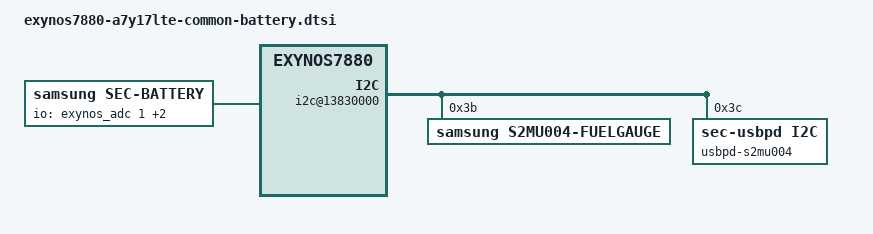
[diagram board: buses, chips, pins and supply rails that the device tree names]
/*
 * SAMSUNG UNIVERSAL7880 board device tree source
 *
 * Copyright (c) 2016 Samsung Electronics Co., Ltd.
 *		http://www.samsung.com
 *
 * This program is free software; you can redistribute it and/or modify
 * it under the terms of the GNU General Public License version 2 as
 * published by the Free Software Foundation.
*/

/ {
	pinctrl@139F0000 {
		fuel_irq: fuel-irq {
			samsung,pins = "gpa0-3";
			samsung,pin-function = <0>;
			samsung,pin-pud = <2>;
			samsung,pin-drv = <0>;
		};

		if_pmic_irq: if-pmic-irq {
			samsung,pins = "gpa2-7";
			samsung,pin-function = <0>;
			samsung,pin-pud = <0>;
			samsung,pin-drv = <0>;
		};

		usbpd_irq: usbpd-irq {
			samsung,pins = "gpa1-3";
			samsung,pin-function = <0xf>;
			samsung,pin-pud = <0>;
			samsung,pin-drv = <0>;
		};
	};

	i2c@13830000 {
		i2c-gpio,delay-us = <5>;
		status = "okay";
		s2mu004-fuelgauge@3B {
			compatible = "samsung,s2mu004-fuelgauge";
			reg = <0x3B>;
			pinctrl-names = "default";
			pinctrl-0 = <&fuel_irq>;
			fuelgauge,fuel_int = <&gpa0 3 0>;
			fuelgauge,fuel_alert_soc = <1>;
			fuelgauge,fuel_alert_vol = <3300>;
			fuelgauge,capacity_max = <1000>;
			fuelgauge,capacity_max_margin = <70>;
			fuelgauge,capacity_min = <0>;
			fuelgauge,capacity_calculation_type = <28>;
			fuelgauge,capacity_full = <3600>;
			fuelgauge,type_str = "SDI";
			fuelgauge,model_type = <1>;
		};
		usbpd-s2mu004@3C {
			compatible = "sec-usbpd,i2c";
			reg = <0x3C>;
			pinctrl-names = "default";
			pinctrl-0     = <&usbpd_irq>;
			usbpd,usbpd_int = <&gpa1 3 0>;
		};
	};

	battery_params {
			battery,battery_table3 = <229 11 83 11 193 10 48 10 182 9
						67 9 215 8 111 8 244 7 174 7
						84 7 244 6 182 6 136 6 100 6
						70 6 34 6 249 5 199 5 145 5
						57 5 175 1 243 8 132 8 21 8
						166 7 55 7 200 6 89 6 235 5
						124 5 13 5 158 4 47 4 192 3
						81 3 227 2 116 2 5 2 150 1
						39 1 184 0 73 0 219 15>;

			battery,battery_table4 = <51 51 51 51 51 51 50 51 50 50
						50 51 51 52 53 53 54 56 58 63
						80 154>;

			battery,batcap = <0x40 0x38 0x10 0x0E>; /* [0x0E] [0x0F] [0x10] [0x11] */
			battery,accum = <0x8 0x00>; /* [0x45] [0x44] */

			battery,soc_arr_val = <11185 10644 10103 9561 9020 8479 7937 7396 6855 6314 5772 5231 4690 4148 3607 3066 2525 1983 1442 901 359 (-182)>;
			battery,ocv_arr_val = <44709 44058 43407 42757 42157 41576 41022 40501 40016 39595 39118 38638 38351 38136 37965 37820 37654 37444 37170 36926 36174 31965>;
	};

	pdic-manager {
		/* sink */
		pdic,max_power = <5000>;
		pdic,op_power = <2500>;
		pdic,max_voltage = <6000>;
		pdic,max_current = <2000>;
		pdic,min_current = <500>;

		pdic,giveback = <0>;
		pdic,usb_com_capable = <1>;
		pdic,no_usb_suspend = <1>;

		/* source */
		source,max_voltage = <5000>;
		source,min_voltage = <4000>;
		source,max_power = <2500>;
	};

	battery {
		status = "okay";
		compatible = "samsung,sec-battery";

		pinctrl-names = "default";

		battery,vendor = "SDI SDI";
		battery,charger_name = "s2mu004-charger";
		battery,fuelgauge_name = "s2mu004-fuelgauge";
		battery,technology = <2>; /* POWER_SUPPLY_TECHNOLOGY_LION */

		battery,chip_vendor = "LSI";
		battery,temp_adc_type = <1>; /* SEC_BATTERY_ADC_TYPE_AP */

		battery,chg_thermal_source = <1>;  /* SEC_CHARGER_THERMAL_SOURCE_ADC */
		battery,chg_temp_check = <1>;
		battery,slave_chg_temp_check = <0>;

		battery,polling_time = <10 30 30 30 3600>;

		battery,temp_table_adc = <311 364 412 489 596 702 779 842 884 939 1038 1098 1130 1204 1277 1307 1390 1497
						1580 1698 1846 1976 2071 2306 2537 2759 2964 3041 3134 3251 3321 3373 3469 3597 3707>;
		battery,temp_table_data = <900 850 800 750 700 650 600 570 550 530 500 480 470 450 430 420 400 370
						350 330 300 270 250 200 150 100 50 30 0 (-30) (-50) (-70) (-100) (-150) (-200)>;

		battery,chg_temp_table_adc = <298 336 396 464 538 662 765 888 943 996 1080 1152 1181 1231 1308 1422 1536
						1617 1708 1833 1957 2048 2270 2490 2690 2881 2957 3042 3138 3210 3262 3339 3455 3555>;
		battery,chg_temp_table_data = <900 850 800 750 700 650 600 570 550 530 500 480 470 450 430 400 370
						350 330 300 270 250 200 150 100 50 30 0 (-30) (-50) (-70) (-100) (-150) (-200)>;

		battery,input_current_limit = <1800 450 450 1800 500 900 1500 450 1000 450 900 900 900 1900 1800 450 450 400 700 1300 300 1000 1500 450 1650 2100 500 1650 80 1800 1650 1400 1000 1000 700 900 900 900 500 1800 1650 3000>;
		battery,fast_charging_current = <2100 450 450 2100 800 1200 1500 450 1200 450 2100 2100 2100 1600 2100 450 450 400 700 1300 300 1000 1500 450 2600 3500 500 2600 80 1800 1000 1400 450 1000 2100 2100 2100 2100 450 2100 2600 3000>;
		battery,full_check_current_1st = <360 0 0 360 360 360 360 360 360 0 360 360 360 360 360 0 0 360 360 360 360 360 360 0 360 360 360 360 0 360 360 360 0 360 360 360 360 360 360 360 360 360>;
		battery,full_check_current_2nd = <120 0 0 120 120 120 120 120 120 0 120 120 120 120 120 0 0 120 120 120 120 120 120 0 120 120 120 120 0 120 120 120 0 120 120 120 120 120 120 120 120 120>;

		battery,wireless_cc_cv = <85>;
		battery,inbat_voltage = <1>;

		battery,inbat_voltage_table_adc = <2823 2803 2775 2748 2719 2695 2668 2638 2609 2582
						2551 2524 2496 2469 2442 2416 2390 2362 2333 2303 2275>;
		battery,inbat_voltage_table_data = <4385 4355 4305 4255 4205 4155 4105 4055 4005 3955
						3905 3855 3805 3755 3705 3655 3605 3555 3505 3455 3405>;

		battery,adc_check_count = <5>;

		battery,cable_check_type = <4>; /* SEC_BATTERY_CABLE_CHECK_PSY */
		battery,cable_source_type = <1>; /* SEC_BATTERY_CABLE_SOURCE_EXTERNAL */
		battery,polling_type = <1>; /* SEC_BATTERY_MONITOR_ALARM */
		battery,monitor_initial_count = <0>;

		battery,pre_afc_input_current = <500>;

		battery,battery_check_type = <0>; /* SEC_BATTERY_CHECK_NONE */
		battery,check_count = <0>;
		battery,check_adc_max = <1440>;
		battery,check_adc_min = <0>;

		battery,ovp_uvlo_check_type = <3>; /* SEC_BATTERY_OVP_UVLO_CHGPOLLING */

		battery,thermal_source = <2>; /* SEC_BATTERY_THERMAL_SOURCE_ADC */

		battery,temp_check_type = <2>; /* SEC_BATTERY_TEMP_CHECK_TEMP */
		battery,temp_check_count = <1>;
		battery,temp_highlimit_threshold_normal = <800>;
		battery,temp_highlimit_recovery_normal = <750>;
		battery,temp_high_threshold_normal = <500>;
		battery,temp_high_recovery_normal = <450>;
		battery,temp_low_threshold_normal = <0>;
		battery,temp_low_recovery_normal = <50>;
		battery,temp_highlimit_threshold_lpm = <800>;
		battery,temp_highlimit_recovery_lpm = <750>;
		battery,temp_high_threshold_lpm = <500>;
		battery,temp_high_recovery_lpm = <450>;
		battery,temp_low_threshold_lpm = <0>;
		battery,temp_low_recovery_lpm = <50>;

		battery,full_check_type = <2>; /* SEC_BATTERY_FULLCHARGED_FG_CURRENT */
		battery,full_check_type_2nd = <2>; /* SEC_BATTERY_FULLCHARGED_FG_CURRENT */
		battery,full_check_count = <1>;
		battery,chg_gpio_full_check = <0>;
		battery,chg_polarity_full_check = <1>;

		battery,chg_heating_prevention_method = <1>; /* SEC_BATTERY_BY_CHANGING_CURRENT */
		battery,chg_12v_high_temp = <615>;
		battery,chg_high_temp = <430>;
		battery,chg_high_temp_recovery = <425>;
		battery,chg_charging_limit_current = <1100>;

		battery,wpc_high_temp = <460 495>;
		battery,wpc_high_temp_recovery = <459 400>;
		battery,wpc_charging_limit_current = <540 400>;
		battery,wpc_heat_temp_recovery = <360>;
		battery,wpc_lcd_on_high_temp = <470>;
		battery,wpc_lcd_on_high_temp_rec = <300>;
		battery,wpc_hv_lcd_on_input_limit_current = <400>;

		battery,sleep_mode_limit_current = <500>;
		battery,wc_full_input_limit_current = <100>;
		battery,wc_heating_input_limit_current = <400>;
		battery,wc_heating_time = <300>; /* 5 min */
		battery,wc_cv_current = <820>;
		battery,wc_cv_pack_current = <630>;

		battery,mix_high_temp = <420>;
		battery,mix_high_chg_temp = <500>;
		battery,mix_high_temp_recovery = <390>;

		/* SEC_BATTERY_FULL_CONDITION_SOC |
		   SEC_BATTERY_FULL_CONDITION_NOTIMEFULL |
		   SEC_BATTERY_FULL_CONDITION_VCELL */
		battery,full_condition_type = <13>;
		battery,full_condition_soc = <93>;
		battery,full_condition_vcell = <4250>;

		battery,recharge_check_count = <1>;
		battery,recharge_condition_type = <4>; /* SEC_BATTERY_RECHARGE_CONDITION_VCELL */
		battery,recharge_condition_soc = <98>;
		battery,recharge_condition_vcell = <4300>;

		battery,charging_total_time = <21600>;
		battery,recharging_total_time = <5400>;
		battery,charging_reset_time = <0>;

		battery,chg_float_voltage = <4350>;

		battery,swelling_high_temp_block = <410>;
		battery,swelling_high_temp_recov = <360>;
		battery,swelling_low_temp_block = <100>;
		battery,swelling_low_temp_recov = <150>;
		battery,swelling_low_temp_additional = <50>;

		battery,swelling_low_temp_current = <1350>;	/* 0.45C */
		battery,swelling_low_temp_additional_current = <550>;	/* 0.18C */
		battery,swelling_low_temp_topoff = <150>;	/* 0.05C */
		battery,swelling_high_temp_current = <1350>;	/* 0.45C */
		battery,swelling_high_temp_topoff = <150>;	/* 0.05C */

		battery,swelling_drop_float_voltage = <4150>;
		battery,swelling_high_rechg_voltage = <4100>;
		battery,swelling_low_rechg_voltage = <4000>;

		battery,self_discharging_temp_block = <600>;
		battery,self_discharging_volt_block = <4250>;
		battery,self_discharging_temp_recov = <550>;
		battery,self_discharging_temp_pollingtime = <400>;

		battery,siop_event_check_type = <1>;
		battery,siop_call_cv_current = <330>;
		battery,siop_call_cc_current = <330>;

		battery,siop_input_limit_current = <1200>;
		battery,siop_charging_limit_current = <1000>;
		battery,siop_hv_input_limit_current = <700>;
		battery,siop_hv_charging_limit_current = <1200>;
		battery,siop_hv_12v_input_limit_current = <535>;
		battery,siop_hv_12v_charging_limit_current = <1000>;

		battery,siop_wireless_input_limit_current = <600>;
		battery,siop_wireless_charging_limit_current = <1000>;
		battery,siop_hv_wireless_input_limit_current = <600>;
		battery,siop_hv_wireless_charging_limit_current = <1000>;

		battery,ttf_hv_12v_charge_current = <2350>;
		battery,ttf_hv_charge_current = <2200>;
		battery,ttf_hv_wireless_charge_current = <1500>;

		/* cycle, chg_float_voltage, recharge_condition_vcell, full_condition_vcell, full_condition_soc */
		battery,age_data = <0 43625 4312 4275 93
				300 43250 4275 4210 89
				500 42875 4237 4170 85>;

		/* values for using CONFIG_STEP_CHARGING */
		battery,step_charging_type = <0x5>;
		battery,step_charging_charge_power = <20000>;
		battery,step_charging_condtion = <4100 4400>;
		battery,step_charging_current = <4200 3000>;
		/* values for not using CONFIG_STEP_CHARGING */
		battery,base_charge_power = <15000>;
		battery,max_charging_current = <2600>;

		battery,max_input_voltage = <9000>; /* mV */
		battery,max_input_current = <3000>;  /* mA */

		battery,prepare_afc_delay = <0>;
	
		io-channels = <&exynos_adc 1>, <&exynos_adc 3>, <&exynos_adc 6>;
		io-channel-names = "adc-temp", "adc-in-bat", "adc-chg-temp";
		#io-channel-cells = <5>;
		io-channel-ranges;
	};

	s2mu004-charger {
		status = "disable";
		compatible = "samsung,s2mu004-charger";
		battery,is_1MHz_switching = <1>;
		battery,chg_gpio_en = <0>;
		battery,chg_polarity_en = <0>;
		battery,chg_gpio_status = <0>;
		battery,chg_polarity_status = <0>;
	};
};
